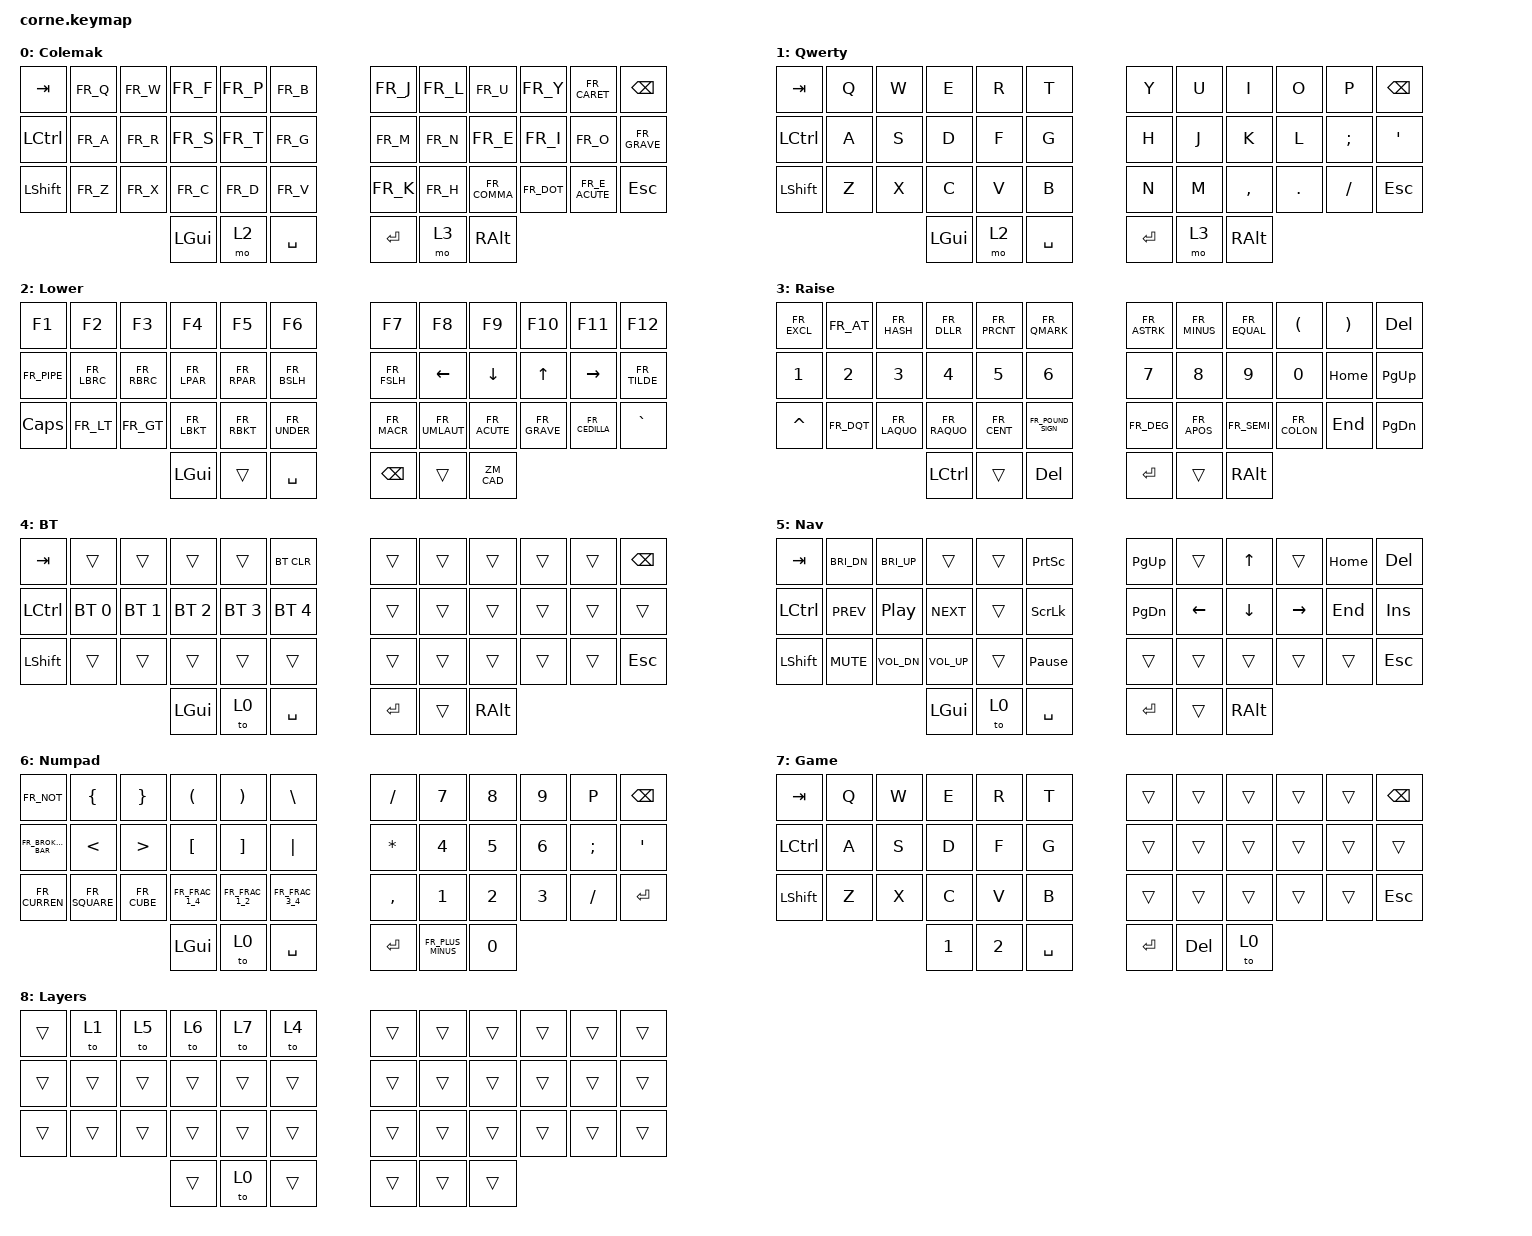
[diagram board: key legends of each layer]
/*
 * Copyright (c) 2020 The ZMK Contributors
 *
 * SPDX-License-Identifier: MIT
 */

#include <behaviors.dtsi>
#include <dt-bindings/zmk/keys.h>
#include <dt-bindings/zmk/bt.h>
#include "keys_fr_canadian_french.h"

#define COLEMAK 0
#define QWERTY 1
#define LOWER 2
#define RAISE 3
#define BT_LAYER 4
#define NAV_LAYER 5
#define NUM_LAYER 6
#define GAME_LAYER 7
#define TO_LAYER 8

/* KEY POSITIONS
  ╭───────────────────────╮          ╭────────────────────────╮
  │  0   1   2   3   4  5 │          │  6   7   8   9  10  11 │
  │ 12  13  14  15  16 17 │          │ 18  19  20  21  22  23 │
  │ 24  25  26  27  28 29 ─────╮ ╭───  30  31  32  33  34  35 │
  ╰──────────────╮  36  37  38 │ │ 39  40  41 ╭───────────────╯
                 ╰─────────────╯ ╰────────────╯           
*/

/ {
    combos {
        compatible = "zmk,combos";
        combo_layers {
            timeout-ms = <50>;
            key-positions = <36 37>;
            bindings = <&to 8>;
        };
        combo_qwerty {
            timeout-ms = <50>;
            key-positions = <40 41>;
            bindings = <&tog 1>;
        };
    };
    macros {
        ZM_CAD: ZM_CAD {
            label = "ZM_CAD";
            compatible = "zmk,behavior-macro";
            #binding-cells = <0>;
            bindings
                = <&macro_press &kp LCTRL &kp LALT>
                , <&macro_tap &kp DEL>
                , <&macro_release &kp LCTRL &kp LALT>
                ;
        };
    };
        keymap {
                compatible = "zmk,keymap";

                COLEMAK {
// -----------------------------------------------------------------------------------------
// |  TAB |  Q  |  W  |  F  |  P  |  B  |   |  J  |  L   |  U  |  Y  |  ^  | BKSP |
// | CTRL |  A  |  R  |  S  |  T  |  G  |   |  M  |  N   |  E  |  I  |  O  |  `   |
// | SHFT |  Z  |  X  |  C  |  D  |  V  |   |  K  |  H   |  ,  |  .  |  É  | ESC  |
//                    | GUI | LWR | SPC |   | ENT | RSE  | ALT |
                        label = "Colemak";
                        bindings = <
   &kp TAB     &kp FR_Q     &kp FR_W     &kp FR_F     &kp FR_P     &kp FR_B          &kp FR_J     &kp FR_L     &kp FR_U     &kp FR_Y     &kp FR_CARET   &kp BSPC
   &kp LCTRL   &kp FR_A     &kp FR_R     &kp FR_S     &kp FR_T     &kp FR_G          &kp FR_M     &kp FR_N     &kp FR_E     &kp FR_I     &kp FR_O       &kp FR_GRAVE
   &kp LSHFT   &kp FR_Z     &kp FR_X     &kp FR_C     &kp FR_D     &kp FR_V          &kp FR_K     &kp FR_H     &kp FR_COMMA &kp FR_DOT   &kp FR_E_ACUTE &kp ESC
                                         &kp LGUI     &mo 2        &kp SPACE         &kp RET      &mo 3        &kp RALT
                        >;
                };
                QWERTY {
// -----------------------------------------------------------------------------------------
// |  TAB |  Q  |  W  |  E  |  R  |  T  |   |  Y  |  U   |  I  |  O  |  P  | BKSP |
// | CTRL |  A  |  S  |  D  |  F  |  G  |   |  H  |  J   |  K  |  L  |  ;  |  '   |
// | SHFT |  Z  |  X  |  C  |  V  |  B  |   |  N  |  M   |  ,  |  .  |  /  | ESC  |
//                    | GUI | LWR | SPC |   | ENT | RSE  | ALT |
                        label = "Qwerty";
                        bindings = <
   &kp TAB     &kp Q        &kp W        &kp E        &kp R        &kp T             &kp Y        &kp U        &kp I        &kp O        &kp P          &kp BSPC
   &kp LCTRL   &kp A        &kp S        &kp D        &kp F        &kp G             &kp H        &kp J        &kp K        &kp L        &kp SEMI       &kp SQT
   &kp LSHFT   &kp Z        &kp X        &kp C        &kp V        &kp B             &kp N        &kp M        &kp COMMA    &kp DOT      &kp FSLH       &kp ESC
                                         &kp LGUI     &mo 2        &kp SPACE         &kp RET      &mo 3        &kp RALT
                        >;
                };
                LOWER {
// -----------------------------------------------------------------------------------------------------------
// |   F1   |  F2   |  F3   |  F4   |  F5   |  F6   |       |  F7   |  F8   |  F9   |  F10  |  F11  |  F12   |
// |   |    |   {   |   }   |   (   |   )   |   \   |       |   /   |  LFT  |  DWN  |  UP   |  RGT  |   ~    |
// |  CAPS  |   <   |   >   |   [   |   ]   |   _   |       |   ­¯   |   ¨   |  ´    |   `   |   ¸   |   `    |
//                          | GUI   |       |  SPC  |       | BKSP  |       |ZM_CAD |
                        label = "Lower";
                        bindings = <
   &kp F1      &kp F2       &kp F3       &kp F4       &kp F5       &kp F6            &kp F7       &kp F8         &kp F9       &kp F10      &kp F11        &kp F12
   &kp FR_PIPE &kp FR_LBRC  &kp FR_RBRC  &kp FR_LPAR  &kp FR_RPAR  &kp FR_BSLH       &kp FR_FSLH  &kp LEFT       &kp DOWN     &kp UP       &kp RIGHT      &kp FR_TILDE
   &kp CAPS    &kp FR_LT    &kp FR_GT    &kp FR_LBKT  &kp FR_RBKT  &kp FR_UNDER      &kp FR_MACR  &kp FR_UMLAUT  &kp FR_ACUTE &kp FR_GRAVE &kp FR_CEDILLA &kp GRAVE
                          	         &kp LGUI     &trans       &kp SPACE         &kp BSPC     &trans         &ZM_CAD
                        >;
                };
                RAISE {
// --------------------------------------------------------------------------------------------------------
// |   !   |   @   |   #   |   $   |   %   |   ?   |      |   &   |   *   |   -   |   +   |   =   | DEL   |
// |   1   |   2   |   3   |   4   |   5   |   6   |      |   7   |   8   |   9   |   0   | HOME  | PGUP  |
// |   ^   |   "   |   «   |   »   |   ¢   |   £   |      |   °   |   '   |   ;   |   :   | END   | PGDWN |
//                         |  CTRL |       |  DEL  |      |  ENT  |       |  ALT  |
                        label = "Raise";
                        bindings = <
   &kp FR_EXCL &kp FR_AT    &kp FR_HASH  &kp FR_DLLR  &kp FR_PRCNT &kp FR_QMARK        &kp FR_ASTRK &kp FR_MINUS &kp FR_EQUAL &kp LPAR     &kp RPAR       &kp DEL
   &kp N1      &kp N2       &kp N3       &kp N4       &kp N5       &kp N6              &kp N7       &kp N8       &kp N9       &kp N0       &kp HOME       &kp PG_UP
   &kp CARET   &kp FR_DQT   &kp FR_LAQUO &kp FR_RAQUO &kp FR_CENT  &kp FR_POUND_SIGN   &kp FR_DEG   &kp FR_APOS  &kp FR_SEMI  &kp FR_COLON &kp END        &kp PG_DN
                    	                 &kp LCTRL    &trans       &kp DEL             &kp RET      &trans       &kp RALT
                        >;
                };
                BT_LAYER {
// --------------------------------------------------------------------------------------------------------
// |  TAB  |       |       |       |       | BTCLR |      |       |       |       |       |       |  BKSP |
// |  CTRL |  BT0  |  BT1  |  BT2  |  BT3  |  BT4  |      |       |       |       |       |       |       |
// |  SHFT |       |       |       |       |       |      |       |       |       |       |       |  ESC  |
//                         | GUI   |  BASE |  SPC  |      |  ENT  |       |  ALT  |
                        label = "BT";
                        bindings = <
   &kp  TAB    &trans       &trans       &trans       &trans       &bt BT_CLR        &trans       &trans       &trans       &trans       &trans         &kp BSPC
   &kp LCTRL   &bt BT_SEL 0 &bt BT_SEL 1 &bt BT_SEL 2 &bt BT_SEL 3 &bt BT_SEL 4      &trans       &trans       &trans       &trans       &trans         &trans
   &kp LSHFT   &trans       &trans       &trans       &trans       &trans            &trans       &trans       &trans       &trans       &trans         &kp ESC
                    	                 &kp LGUI     &to 0        &kp SPACE         &kp RET      &trans       &kp RALT
                        >;
                };
                NAV_LAYER {
// ---------------------------------------------------------------------------------------------------------
// |  TAB  |  BGTDN |  BGTUP |       |       |PRINT|      |  PGUP  |       |  UP   |       |  HOME |  DEL  |
// |  CTRL |  RWND  |  PLAY  |  FFWD |       |SCROL|      |  PGDWN |  LFT  |  DWN  |  RGT  |  END  |  INS  |
// |  SHFT |  MUTE  |  VOLDN | VOLUP |       |PAUSE|      |        |       |       |       |       |  ESC  |
//                           |  GUI  |  BASE | SPC |      |  ENT   |       |  ALT  |
                        label = "Nav";
                        bindings = <
   &kp TAB     &kp C_BRI_DN &kp C_BRI_UP &trans       &trans       &kp PSCRN         &kp PG_UP    &trans       &kp UP       &trans       &kp HOME       &kp DEL
   &kp LCTRL   &kp C_PREV   &kp C_PP     &kp C_NEXT   &trans       &kp SLCK          &kp PG_DN    &kp LEFT     &kp DOWN     &kp RIGHT    &kp END        &kp INS 
   &kp LSHFT   &kp C_MUTE   &kp C_VOL_DN &kp C_VOL_UP &trans       &kp PAUSE_BREAK   &trans       &trans       &trans       &trans       &trans         &kp ESC
                                         &kp LGUI     &to 0        &kp SPACE         &kp RET      &trans       &kp RALT
                        >;
                };
                NUM_LAYER {
// ---------------------------------------------------------------------------------------------------------
// |   ¬   |   {   |   }   |   (   |   )   |   \   |       |   /   |   7   |   8   |   9   |   -   |  BKSP |
// |   ¦   |   <   |   >   |   [   |   ]   |   |   |       |   *   |   4   |   5   |   6   |   +   |   =   |
// |   ¤   |   ²   |   ³   |   ¼   |   ½   |   ¾   |       |   ,   |   1   |   2   |   3   |   .   |  ENT  |
//                         |  GUI  | BASE  |  SPC  |       |  ENT  |   ±   |   0   |
                        label = "Numpad";
                        bindings = <
   &kp FR_NOT        &kp LBRC      &kp RBRC     &kp LPAR        &kp RPAR        &kp BSLH            &kp FSLH     &kp N7             &kp N8       &kp N9       &kp P          &kp BSPC
   &kp FR_BROKEN_BAR &kp LT        &kp GT       &kp LBKT        &kp RBKT        &kp PIPE            &kp STAR     &kp N4             &kp N5       &kp N6       &kp SEMI       &kp SQT
   &kp FR_CURREN     &kp FR_SQUARE &kp FR_CUBE  &kp FR_FRAC_1_4 &kp FR_FRAC_1_2 &kp FR_FRAC_3_4     &kp COMMA    &kp N1             &kp N2       &kp N3       &kp FSLH       &kp RET
                                                &kp LGUI        &to 0           &kp SPACE           &kp RET       &kp FR_PLUS_MINUS &kp N0
                        >;
                };
                GAME_LAYER {
// -----------------------------------------------------------------------------------------
// |  TAB |  Q  |  W  |  E  |  R  |  T  |   |     |      |     |     |     | BSPC |
// | CTRL |  A  |  S  |  D  |  F  |  G  |   |     |      |     |     |     |      |
// | SHFT |  Z  |  X  |  C  |  V  |  B  |   |     |      |     |     |     | ESC  |
//                    |  1  |  2  | SPC |   | ENT | DEL  |BASE |
                        label = "Game";
                        bindings = <
   &kp TAB     &kp Q        &kp W        &kp E        &kp R        &kp T             &trans       &trans       &trans       &trans       &trans         &kp BSPC
   &kp LCTRL   &kp A        &kp S        &kp D        &kp F        &kp G             &trans       &trans       &trans       &trans       &trans         &trans
   &kp LSHFT   &kp Z        &kp X        &kp C        &kp V        &kp B             &trans       &trans       &trans       &trans       &trans         &kp ESC
                                         &kp N1       &kp N2       &kp SPACE         &kp RET      &kp DEL      &to 0
                        >;
                };
                TO_LAYER {
// -----------------------------------------------------------------------------------------
// |      |QWERT| NAV | NUM | GAME| BT  |   |     |     |     |     |     |      |
// |      |     |     |     |     |     |   |     |     |     |     |     |      |
// |      |     |     |     |     |     |   |     |     |     |     |     |      |
//                    |     | BASE|     |   |     |     |     |
                        label = "Layers";
                        bindings = <
   &trans      &to 1        &to 5        &to 6        &to 7        &to 4             &trans       &trans       &trans       &trans       &trans         &trans
   &trans      &trans       &trans       &trans       &trans       &trans            &trans       &trans       &trans       &trans       &trans         &trans
   &trans      &trans       &trans       &trans       &trans       &trans            &trans       &trans       &trans       &trans       &trans         &trans
                    	                 &trans       &to 0        &trans            &trans       &trans       &trans
                        >;
                };
        };
};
